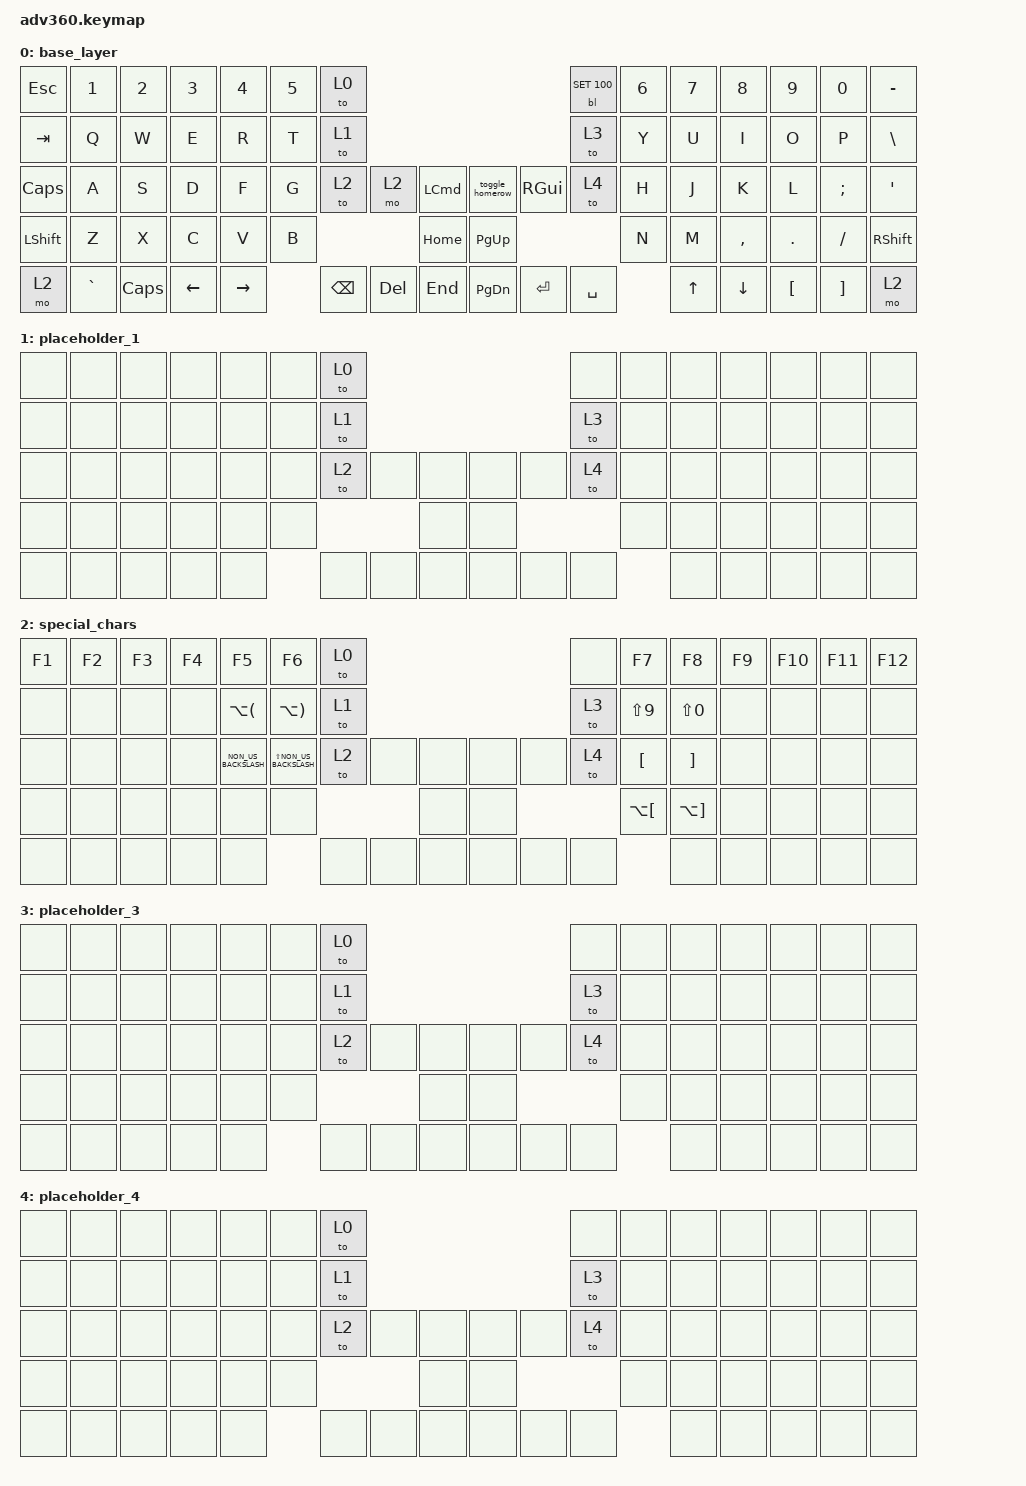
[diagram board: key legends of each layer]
/*
 * Copyright (c) 2020 The ZMK Contributors
 *
 * SPDX-License-Identifier: MIT
 */
/* THIS FILE WAS GENERATED!
 *
 * This file was generated automatically. You may or may not want to
 * edit it directly.
 */

#include <behaviors.dtsi>
#include <dt-bindings/zmk/backlight.h>
#include <dt-bindings/zmk/keys.h>

/ {
    behaviors {
        #include "macros.dtsi"
    #include "version.dtsi"

        hm: homerow_mods {
            compatible = "zmk,behavior-hold-tap";
            label = "HOMEROW_MODS";
            #binding-cells = <2>;
            tapping-term-ms = <200>;
            quick_tap_ms = <175>;
            flavor = "tap-preferred";
            bindings = <&kp>, <&kp>;
        };
    };

    macros {
        toggle_homerow: toggle_homerow {
            compatible = "zmk,behavior-macro";
            #binding-cells = <0>;
            bindings = <&kp A &kp LG(M)>;
            label = "TOGGLE_HOMEROW";
        };
    };

    keymap {
        compatible = "zmk,keymap";

        base_layer {
            bindings = <
&kp ESC    &kp N1     &kp N2    &kp N3          &kp N4           &kp N5  &to 0                                                                &bl BL_SET 100  &kp N6  &kp N7        &kp N8          &kp N9    &kp N0         &kp MINUS
&kp TAB    &kp Q      &kp W     &kp E           &kp R            &kp T   &to 1                                                                &to 3           &kp Y   &kp U         &kp I           &kp O     &kp P          &kp BSLH
&kp CAPS   &kp A      &kp S     &kp D           &kp F            &kp G   &to 2     &mo 2    &kp LEFT_COMMAND      &toggle_homerow  &kp RGUI   &to 4           &kp H   &kp J         &kp K           &kp L     &kp SEMICOLON  &kp SQT
&kp LSHFT  &kp Z      &kp X     &kp C           &kp V            &kp B                      &kp HOME              &kp PG_UP                                   &kp N   &kp M         &kp COMMA       &kp DOT   &kp FSLH       &kp RSHFT
&mo 2      &kp GRAVE  &kp CAPS  &kp LEFT_ARROW  &kp RIGHT_ARROW          &kp BSPC  &kp DEL  &kp END               &kp PG_DN        &kp ENTER  &kp SPACE               &kp UP_ARROW  &kp DOWN_ARROW  &kp LBKT  &kp RBKT       &mo 2
            >;
        };

        placeholder_1 {
            bindings = <
&none  &none  &none  &none  &none  &none  &to 0                                  &none  &none  &none  &none  &none  &none  &none
&none  &none  &none  &none  &none  &none  &to 1                                  &to 3  &none  &none  &none  &none  &none  &none
&none  &none  &none  &none  &none  &none  &to 2  &none  &none      &none  &none  &to 4  &none  &none  &none  &none  &none  &none
&none  &none  &none  &none  &none  &none                &none      &none                &none  &none  &none  &none  &none  &none
&none  &none  &none  &none  &none         &none  &none  &none      &none  &none  &none         &none  &none  &none  &none  &none
            >;
        };

        special_chars {
            bindings = <
&kp F1  &kp F2  &kp F3  &kp F4  &kp F5                &kp F6                    &to 0                                  &none  &kp F7                &kp F8                 &kp F9  &kp F10  &kp F11  &kp F12
&none   &none   &none   &none   &kp LA(LPAR)          &kp LA(RPAR)              &to 1                                  &to 3  &kp LS(N9)            &kp LS(N0)             &none   &none    &none    &none
&none   &none   &none   &none   &kp NON_US_BACKSLASH  &kp LS(NON_US_BACKSLASH)  &to 2  &none  &none      &none  &none  &to 4  &kp LEFT_BRACKET      &kp RIGHT_BRACKET      &none   &none    &none    &none
&none   &none   &none   &none   &none                 &none                                   &none      &none                &kp LA(LEFT_BRACKET)  &kp LA(RIGHT_BRACKET)  &none   &none    &none    &none
&none   &none   &none   &none   &none                                           &none  &none  &none      &none  &none  &none                        &none                  &none   &none    &none    &none
            >;
        };

        placeholder_3 {
            bindings = <
&none  &none  &none  &none  &none  &none  &to 0                                  &none  &none  &none  &none  &none  &none  &none
&none  &none  &none  &none  &none  &none  &to 1                                  &to 3  &none  &none  &none  &none  &none  &none
&none  &none  &none  &none  &none  &none  &to 2  &none  &none      &none  &none  &to 4  &none  &none  &none  &none  &none  &none
&none  &none  &none  &none  &none  &none                &none      &none                &none  &none  &none  &none  &none  &none
&none  &none  &none  &none  &none         &none  &none  &none      &none  &none  &none         &none  &none  &none  &none  &none
            >;
        };

        placeholder_4 {
            bindings = <
&none  &none  &none  &none  &none  &none  &to 0                                  &none  &none  &none  &none  &none  &none  &none
&none  &none  &none  &none  &none  &none  &to 1                                  &to 3  &none  &none  &none  &none  &none  &none
&none  &none  &none  &none  &none  &none  &to 2  &none  &none      &none  &none  &to 4  &none  &none  &none  &none  &none  &none
&none  &none  &none  &none  &none  &none                &none      &none                &none  &none  &none  &none  &none  &none
&none  &none  &none  &none  &none         &none  &none  &none      &none  &none  &none         &none  &none  &none  &none  &none
            >;
        };
    };
};
